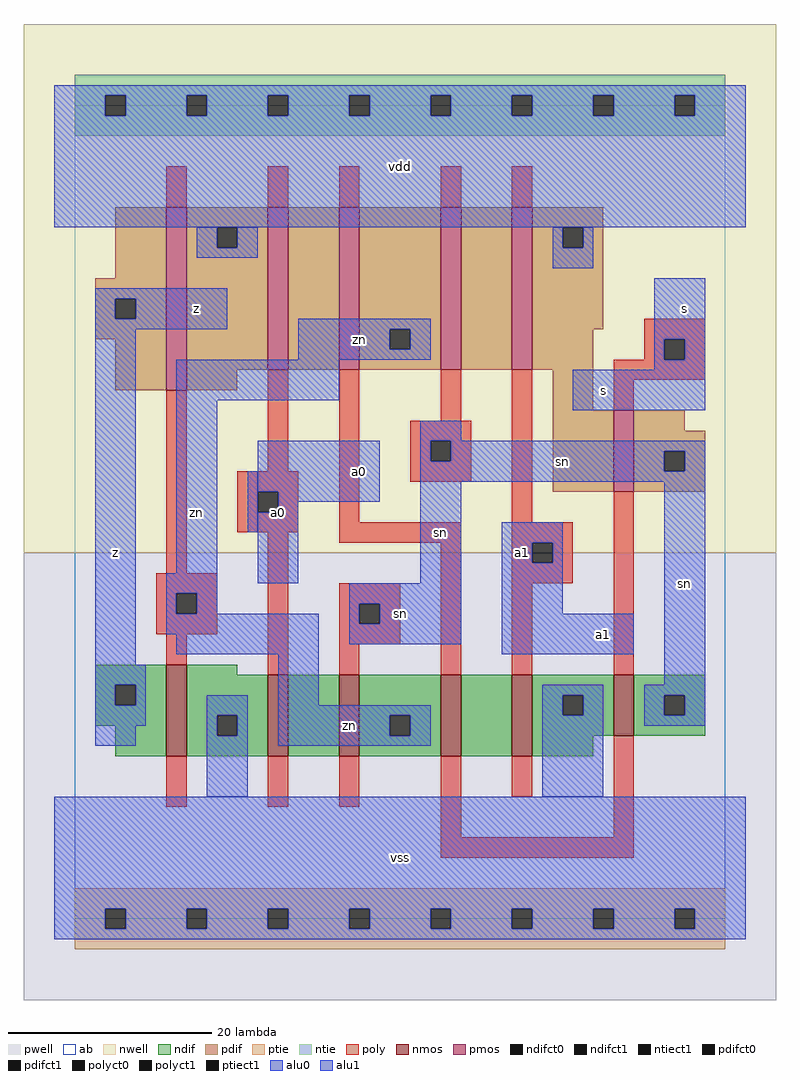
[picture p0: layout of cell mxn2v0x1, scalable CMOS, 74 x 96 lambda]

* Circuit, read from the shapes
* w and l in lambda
.subckt mxn2v0x1 a0 a1 s sn vdd vss z zn
M1 vss zn z vss nfet w=9 l=2
M2 n1 a0 vss vss nfet w=8 l=2
M3 zn sn n1 vss nfet w=8 l=2
M4 n2 s zn vss nfet w=8 l=2
M5 vss a1 n2 vss nfet w=8 l=2
M6 sn s vss vss nfet w=6 l=2
M7 vdd zn z vdd pfet w=18 l=2
M8 n3 a0 vdd vdd pfet w=16 l=2
M9 zn s n3 vdd pfet w=16 l=2
M10 n4 sn zn vdd pfet w=16 l=2
M11 vdd a1 n4 vdd pfet w=16 l=2
M12 sn s vdd vdd pfet w=8 l=2
.ends

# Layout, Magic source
magic
tech scmos
<< ab >>
rect 0 0 64 80
<< nwell >>
rect -5 36 69 88
<< pwell >>
rect -5 -8 69 36
<< poly >>
rect 9 70 11 74
rect 19 70 21 74
rect 26 70 28 74
rect 36 70 38 74
rect 43 70 45 74
rect 56 57 62 59
rect 56 55 58 57
rect 60 55 62 57
rect 9 34 11 52
rect 19 44 21 54
rect 16 42 22 44
rect 16 40 18 42
rect 20 40 22 42
rect 16 38 22 40
rect 26 39 28 54
rect 36 49 38 54
rect 33 47 39 49
rect 33 45 35 47
rect 37 45 39 47
rect 33 43 39 45
rect 43 39 45 54
rect 53 53 62 55
rect 53 50 55 53
rect 8 32 14 34
rect 8 30 10 32
rect 12 30 14 32
rect 8 28 14 30
rect 9 25 11 28
rect 19 24 21 38
rect 26 37 38 39
rect 26 31 32 33
rect 26 29 28 31
rect 30 29 32 31
rect 26 27 32 29
rect 26 24 28 27
rect 36 24 38 37
rect 43 37 49 39
rect 43 35 45 37
rect 47 35 49 37
rect 43 33 49 35
rect 43 24 45 33
rect 53 24 55 42
rect 9 11 11 16
rect 19 11 21 16
rect 26 11 28 16
rect 36 8 38 16
rect 43 12 45 16
rect 53 8 55 18
rect 36 6 55 8
<< ndif >>
rect 2 23 9 25
rect 2 21 4 23
rect 6 21 9 23
rect 2 19 9 21
rect 4 16 9 19
rect 11 24 16 25
rect 11 20 19 24
rect 11 18 14 20
rect 16 18 19 20
rect 11 16 19 18
rect 21 16 26 24
rect 28 20 36 24
rect 28 18 31 20
rect 33 18 36 20
rect 28 16 36 18
rect 38 16 43 24
rect 45 22 53 24
rect 45 20 48 22
rect 50 20 53 22
rect 45 18 53 20
rect 55 22 62 24
rect 55 20 58 22
rect 60 20 62 22
rect 55 18 62 20
rect 45 16 51 18
<< pdif >>
rect 4 63 9 70
rect 2 61 9 63
rect 2 59 4 61
rect 6 59 9 61
rect 2 57 9 59
rect 4 52 9 57
rect 11 68 19 70
rect 11 66 14 68
rect 16 66 19 68
rect 11 54 19 66
rect 21 54 26 70
rect 28 58 36 70
rect 28 56 31 58
rect 33 56 36 58
rect 28 54 36 56
rect 38 54 43 70
rect 45 68 52 70
rect 45 66 48 68
rect 50 66 52 68
rect 45 58 52 66
rect 45 54 51 58
rect 11 52 16 54
rect 47 50 51 54
rect 47 42 53 50
rect 55 48 60 50
rect 55 46 62 48
rect 55 44 58 46
rect 60 44 62 46
rect 55 42 62 44
<< alu1 >>
rect -2 81 66 82
rect -2 79 3 81
rect 5 79 11 81
rect 13 79 19 81
rect 21 79 27 81
rect 29 79 35 81
rect 37 79 43 81
rect 45 79 51 81
rect 53 79 59 81
rect 61 79 66 81
rect -2 68 66 79
rect 2 61 15 62
rect 2 59 4 61
rect 6 59 15 61
rect 2 58 15 59
rect 2 25 6 58
rect 57 57 62 63
rect 57 55 58 57
rect 60 55 62 57
rect 57 54 62 55
rect 49 50 62 54
rect 18 42 30 47
rect 20 41 30 42
rect 20 40 22 41
rect 18 33 22 40
rect 42 37 48 39
rect 42 35 45 37
rect 47 35 48 37
rect 42 30 48 35
rect 42 26 55 30
rect 2 23 7 25
rect 2 21 4 23
rect 6 21 7 23
rect 2 19 7 21
rect 2 17 6 19
rect -2 1 66 12
rect -2 -1 3 1
rect 5 -1 11 1
rect 13 -1 19 1
rect 21 -1 27 1
rect 29 -1 35 1
rect 37 -1 43 1
rect 45 -1 51 1
rect 53 -1 59 1
rect 61 -1 66 1
rect -2 -2 66 -1
<< ptie >>
rect 0 1 64 3
rect 0 -1 3 1
rect 5 -1 11 1
rect 13 -1 19 1
rect 21 -1 27 1
rect 29 -1 35 1
rect 37 -1 43 1
rect 45 -1 51 1
rect 53 -1 59 1
rect 61 -1 64 1
rect 0 -3 64 -1
<< ntie >>
rect 0 81 64 83
rect 0 79 3 81
rect 5 79 11 81
rect 13 79 19 81
rect 21 79 27 81
rect 29 79 35 81
rect 37 79 43 81
rect 45 79 51 81
rect 53 79 59 81
rect 61 79 64 81
rect 0 77 64 79
<< nmos >>
rect 9 16 11 25
rect 19 16 21 24
rect 26 16 28 24
rect 36 16 38 24
rect 43 16 45 24
rect 53 18 55 24
<< pmos >>
rect 9 52 11 70
rect 19 54 21 70
rect 26 54 28 70
rect 36 54 38 70
rect 43 54 45 70
rect 53 42 55 50
<< polyct0 >>
rect 35 45 37 47
rect 10 30 12 32
rect 28 29 30 31
<< polyct1 >>
rect 58 55 60 57
rect 18 40 20 42
rect 45 35 47 37
<< ndifct0 >>
rect 14 18 16 20
rect 31 18 33 20
rect 48 20 50 22
rect 58 20 60 22
<< ndifct1 >>
rect 4 21 6 23
<< ntiect1 >>
rect 3 79 5 81
rect 11 79 13 81
rect 19 79 21 81
rect 27 79 29 81
rect 35 79 37 81
rect 43 79 45 81
rect 51 79 53 81
rect 59 79 61 81
<< ptiect1 >>
rect 3 -1 5 1
rect 11 -1 13 1
rect 19 -1 21 1
rect 27 -1 29 1
rect 35 -1 37 1
rect 43 -1 45 1
rect 51 -1 53 1
rect 59 -1 61 1
<< pdifct0 >>
rect 14 66 16 68
rect 31 56 33 58
rect 48 66 50 68
rect 58 44 60 46
<< pdifct1 >>
rect 4 59 6 61
<< alu0 >>
rect 12 66 14 68
rect 16 66 18 68
rect 12 65 18 66
rect 47 66 48 68
rect 50 66 51 68
rect 47 64 51 66
rect 22 58 35 59
rect 22 56 31 58
rect 33 56 35 58
rect 22 55 35 56
rect 10 51 26 55
rect 10 34 14 51
rect 34 47 38 49
rect 17 38 18 44
rect 34 45 35 47
rect 37 46 62 47
rect 37 45 58 46
rect 34 44 58 45
rect 60 44 62 46
rect 34 43 62 44
rect 9 32 14 34
rect 34 33 38 43
rect 9 30 10 32
rect 12 30 14 32
rect 27 31 38 33
rect 9 28 24 30
rect 10 26 24 28
rect 27 29 28 31
rect 30 29 38 31
rect 27 27 38 29
rect 13 20 17 22
rect 13 18 14 20
rect 16 18 17 20
rect 13 12 17 18
rect 20 21 24 26
rect 58 23 62 43
rect 46 22 52 23
rect 20 20 35 21
rect 20 18 31 20
rect 33 18 35 20
rect 20 17 35 18
rect 46 20 48 22
rect 50 20 52 22
rect 46 12 52 20
rect 56 22 62 23
rect 56 20 58 22
rect 60 20 62 22
rect 56 19 62 20
<< labels >>
rlabel alu0 12 40 12 40 6 zn
rlabel alu0 27 19 27 19 6 zn
rlabel alu0 32 30 32 30 6 sn
rlabel alu0 36 38 36 38 6 sn
rlabel alu0 28 57 28 57 6 zn
rlabel alu0 60 33 60 33 6 sn
rlabel alu0 48 45 48 45 6 sn
rlabel alu1 4 36 4 36 6 z
rlabel alu1 12 60 12 60 6 z
rlabel alu1 28 44 28 44 6 a0
rlabel alu1 20 40 20 40 6 a0
rlabel alu1 32 6 32 6 6 vss
rlabel alu1 44 36 44 36 6 a1
rlabel alu1 32 74 32 74 6 vdd
rlabel alu1 52 28 52 28 6 a1
rlabel alu1 52 52 52 52 6 s
rlabel alu1 60 60 60 60 6 s
<< end >>
